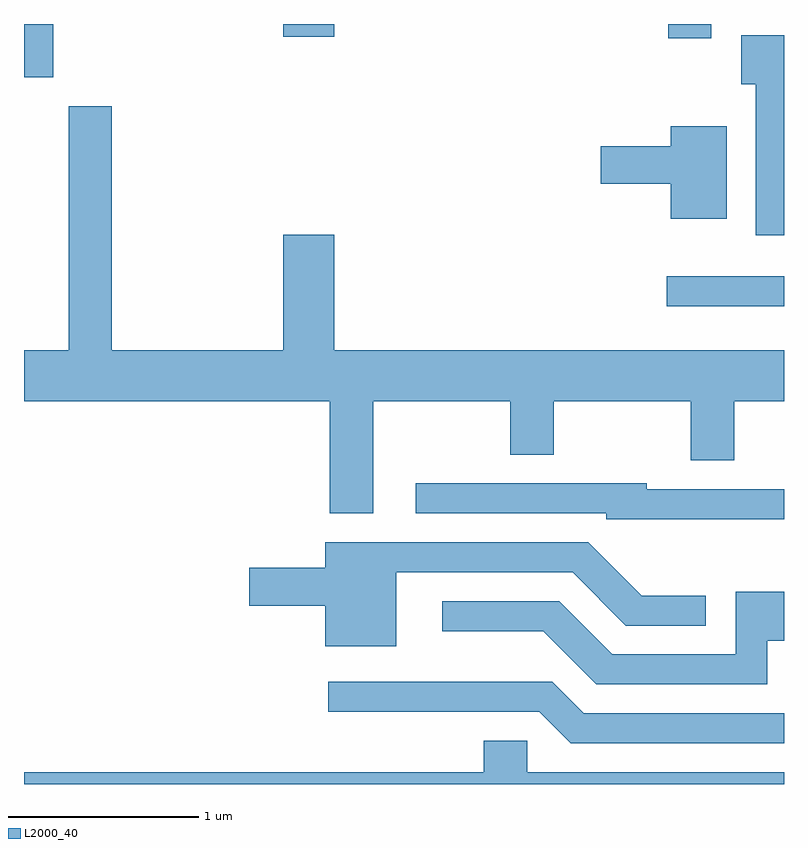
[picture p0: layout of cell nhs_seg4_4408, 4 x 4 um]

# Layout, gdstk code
import gdstk
lib = gdstk.Library(unit=1e-6, precision=1e-09)
def R(c, l, rs):  # rectangles x0, y0, x1, y1
    for r in rs: c.add(gdstk.rectangle(r[:2], r[2:], *l))
def P(c, l, *ps):  # polygons
    for p in ps: c.add(gdstk.Polygon(p, *l))
L2000_40 = (2000, 40)

nhs_seg4_4408 = lib.new_cell('nhs_seg4_4408')
R(nhs_seg4_4408, L2000_40, [(316.993,1368.496,317.611,1368.654), (313.611,1369.701,313.764,1369.982), (317.001,1369.906,317.229,1369.982), (314.976,1369.916,315.244,1369.982)])
P(nhs_seg4_4408, L2000_40, [(317.611,1369.924),(317.386,1369.924),(317.386,1369.666),(317.461,1369.666),(317.461,1368.871),(317.611,1368.871)],
  [(315.449,1367.996),(316.171,1367.996),(316.171,1367.716),(316.399,1367.716),(316.399,1367.996),(317.121,1367.996),(317.121,1367.686),(317.349,1367.686),(317.349,1367.996),(317.611,1367.996),(317.611,1368.264),(315.244,1368.264),(315.244,1368.874),(314.976,1368.874),(314.976,1368.264),(314.074,1368.264),(314.074,1369.549),(313.846,1369.549),(313.846,1368.264),(313.611,1368.264),(313.611,1367.996),(315.221,1367.996),(315.221,1367.406),(315.449,1367.406)],
  [(317.309,1369.444),(317.016,1369.444),(317.016,1369.339),(316.646,1369.339),(316.646,1369.141),(317.016,1369.141),(317.016,1368.956),(317.309,1368.956)],
  [(317.611,1367.534),(316.889,1367.534),(316.889,1367.564),(315.673,1367.564),(315.673,1367.406),(316.676,1367.406),(316.676,1367.376),(317.611,1367.376)],
  [(315.569,1367.096),(316.499,1367.096),(316.779,1366.816),(317.198,1366.816),(317.198,1366.974),(316.862,1366.974),(316.582,1367.254),(315.196,1367.254),(315.196,1367.119),(314.796,1367.119),(314.796,1366.921),(315.196,1366.921),(315.196,1366.706),(315.569,1366.706)],
  [(317.524,1366.736),(317.611,1366.736),(317.611,1366.994),(317.356,1366.994),(317.356,1366.664),(316.707,1366.664),(316.427,1366.944),(315.813,1366.944),(315.813,1366.786),(316.344,1366.786),(316.624,1366.506),(317.524,1366.506)],
  [(317.611,1366.354),(316.557,1366.354),(316.392,1366.519),(315.213,1366.519),(315.213,1366.361),(316.324,1366.361),(316.489,1366.196),(317.611,1366.196)],
  [(317.611,1366.044),(316.259,1366.044),(316.259,1366.209),(316.031,1366.209),(316.031,1366.044),(313.611,1366.044),(313.611,1365.982),(317.611,1365.982)])

lib.write_gds('nhs_seg4_4408.gds')
